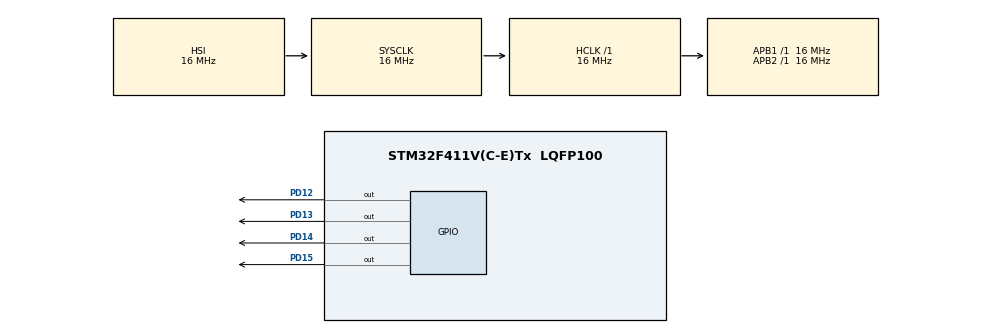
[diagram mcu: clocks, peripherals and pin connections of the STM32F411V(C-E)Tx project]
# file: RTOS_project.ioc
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FREERTOS.Mutexes01=uart_lock,Dynamic,NULL
FREERTOS.Queues01=sensor_queue,16,float,0,Dynamic,NULL,NULL
FREERTOS.Tasks01=task01,24,128,func1,Default,NULL,Dynamic,NULL,NULL;task02,8,512,func2,Default,NULL,Dynamic,NULL,NULL;task03,8,128,func3,Default,NULL,Dynamic,NULL,NULL;task04,8,128,func4,Default,NULL,Dynamic,NULL,NULL
Mcu.Family=STM32F4
Mcu.Name=STM32F411V(C-E)Tx
Mcu.Package=LQFP100
NVIC.PriorityGroup=NVIC_PRIORITYGROUP_4
PA13.Mode=Serial_Wire
PA13.Signal=SYS_JTMS-SWDIO
PA14.Mode=Serial_Wire
PA14.Signal=SYS_JTCK-SWCLK
PD12.Signal=GPIO_Output
PD13.Signal=GPIO_Output
PD14.Signal=GPIO_Output
PD15.Signal=GPIO_Output
ProjectManager.HeapSize=0x200
ProjectManager.StackSize=0x400
ProjectManager.TargetToolchain=STM32CubeIDE
RCC.AHBFreq_Value=16000000
RCC.APB1Freq_Value=16000000
RCC.APB2Freq_Value=16000000
RCC.CortexFreq_Value=16000000
RCC.HSE_VALUE=25000000
RCC.HSI_VALUE=16000000
RCC.LSE_VALUE=32768
RCC.SYSCLKFreq_VALUE=16000000
RCC.VCOOutputFreq_Value=192000000
VP_FREERTOS_VS_CMSIS_V2.Mode=CMSIS_V2
board=custom

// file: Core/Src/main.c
/* USER CODE BEGIN Header */
/**
  ******************************************************************************
  * @file           : main.c
  * @brief          : Main program body
  ******************************************************************************
  * @attention
  *
  * Copyright (c) 2023 STMicroelectronics.
  * All rights reserved.
  *
  * This software is licensed under terms that can be found in the LICENSE file
  * in the root directory of this software component.
  * If no LICENSE file comes with this software, it is provided AS-IS.
  *
  ******************************************************************************
  */
/* USER CODE END Header */
#include "main.h"
#include "cmsis_os.h"

/* USER CODE BEGIN Includes */
#include <string.h>
#include<stdarg.h>
#include<stdio.h>
#define UART1_ADDRESS_BASE 0x40011000
#define GPIOB_ADDRESS_BASE 0x40020400
#define RCC_ADDR_BASE 0x40023800
#define ADC_ADDR_BASE 0x40012000
#define ADC_CC_ADDR_BASE (ADC_ADDR_BASE +0x300)

/* USER CODE END Includes */

/* USER CODE BEGIN PTD */
void uart_init()
{
	__HAL_RCC_GPIOB_CLK_ENABLE();
	//chon PB6,PB7
	uint32_t* MODER = (uint32_t*)(GPIOB_ADDRESS_BASE + 0x00);
	//PB6,PB7
	*MODER &= ~((0b11 << 12) |( 0b11 << 14));
	*MODER |= ((0b10 << 12) |( 0b10 << 14));
	//ALTERNATIVE FUNCTION
	uint32_t* AFRL = (uint32_t*)(GPIOB_ADDRESS_BASE + 0x20);
	//CLEAR PB6,PB7
	*AFRL &= ~((0xf << 24) | (0xf << 28));
	//AF07 NEN DICH 7
	*AFRL |= ((7 << 24) | (7 << 28));

	//baund-rate=9600
	// parity: even
	// data length: 8bit
	__HAL_RCC_USART1_CLK_ENABLE();
	uint32_t* BRR = (uint32_t*)(UART1_ADDRESS_BASE + 0x08);
	//104,166667=16000000/(9600*160)
	//3=0.166667*16 fraction part
	//Baud_rate 19.6.3
	*BRR |= (104 << 4) | (3 << 0);
	uint32_t* CR1 = (uint32_t*)(UART1_ADDRESS_BASE + 0x0c);
	//12 xac dinh length(8 or 9 bits co parity hay k)
	//10 xac dinh parity
	*CR1 |= (1 << 12) | (1 << 10);
	//9 chon even hay odd parity neu 0 thi co the ko can
	*CR1 &= ~(1 << 9);
	//3 transmit,2 receive,13 enable uart
//	*CR1 |= (1 << 5);//enable interrupt, rxne=1
//	uint32_t*ISER1=(uint32_t*)(0xe000e104) ;
//	*ISER1|=(1<<(37-32));
	uint32_t*CR3=(uint32_t*)(0x40011014);
	*CR3|=(1<<6);

	*CR1 |= (1 << 13) | (1 << 3) | (1 << 2);

}
char rx_buf[1024];
int rx_index=0;
void USART1_IRQHandler()
{
	uint32_t* SR = (uint32_t*)(UART1_ADDRESS_BASE + 0x00);
	//DR DATA REGISTER
		uint32_t* DR = (uint32_t*)(UART1_ADDRESS_BASE + 0x04);
		rx_buf[rx_index++]=*DR;
		*SR &=~(1<<5);
}
void uart_send_1_byte(char data)
{//SR STATUS REGISTER
	uint32_t* SR = (uint32_t*)(UART1_ADDRESS_BASE + 0x00);
//DR DATA REGISTER
	uint32_t* DR = (uint32_t*)(UART1_ADDRESS_BASE + 0x04);
	//Xet transmit empty thi moi trans
	while (((*SR >> 7) & 1) != 1);
	*DR = data;
	//6 la transmit complete
	while (((*SR >> 6) & 1) != 1);

}
void uart_send_string(char* str)
{
	int str_len = strlen(str);
	for (int i = 0; i < str_len; i++) {
		uart_send_1_byte(str[i]);
	}

}
char uart_recv_data()
{
	uint32_t* SR = (uint32_t*)(UART1_ADDRESS_BASE + 0x00);
	uint32_t* DR = (uint32_t*)(UART1_ADDRESS_BASE + 0x04);
	while (((*SR >> 5) & 1) != 1);
	uint8_t data = *DR;
	return data;

}
void printlog(char*format,...)
{
char buf[1024]={0};
char buf_len=0;
va_list _ArgList;
va_start(_ArgList,format);
vsprintf(buf,format,_ArgList);
uart_send_string(buf);
va_end(_ArgList);
buf_len=strlen(buf);
for(int i=0;i<buf_len;i++)
{
	uart_send_1_byte(buf[i]);
}
}
void custom_printf(char*format,...)
{
char buf[1024]={0};
va_list _ArgList;
va_start(_ArgList,format);
vsprintf(buf,format,_ArgList);
uart_send_string(buf);
va_end(_ArgList);
}
int common_memory;

void adc_init() {
	//__HAL_RCC_ADC1_CLK_ENABLE();
	uint32_t* RCC_APB2ENR = (uint32_t*)(RCC_ADDR_BASE + 0x44);
	*RCC_APB2ENR |= (1 << 8);

	 uint32_t* CCR = (uint32_t*)(ADC_CC_ADDR_BASE + 0x04);
	 *CCR |= (1 << 23);         // enable temperature sensor

	 uint32_t* SMPR1 = (uint32_t*)(ADC_ADDR_BASE + 0x0C);
	 *SMPR1 |= 0b111 << 18;     // sample time for c16 is 480 cycles

	 uint32_t* JSQR = (uint32_t*)(ADC_ADDR_BASE + 0x38);
	 *JSQR &= ~(0b11 << 20);    //
	 *JSQR |= 16 << 15;         //  channel 16 temperature

	 uint32_t* CR2  = (uint32_t*)(ADC_ADDR_BASE + 0x08);
	 *CR2 |= 1 << 0;            // enable ADC

}
int adc_measure_vin() {
	uint32_t* CR2 = (uint32_t*)(ADC_ADDR_BASE + 0x08);
		*CR2 |= 1 << 22;//start
		uint32_t* SR = (uint32_t*)(ADC_ADDR_BASE + 0x00);
		while (((*SR >> 2) & 1) != 1);//WAIt until injected conversion complete
		uint32_t* JDR1 = (uint32_t*)(ADC_ADDR_BASE + 0x3C);
		uint32_t DR = *JDR1 & 0xfff;
		return (DR * 3000) / 4095;

}
float adc_get_temp()
{
	int VSENSE = adc_measure_vin();
	int V25 = 760;
	float Avg_slope = 2.5;
	float temper = ((VSENSE - V25) / Avg_slope) + 25;
	return temper;
}
void led_init()
{
	//enable clock GPIOD
	__HAL_RCC_GPIOD_CLK_ENABLE();
	//Set PD12,13,14,15 in OUTPUT mode(push-pull)
	uint32_t* GPIOD_MODER=(uint32_t*)(0x40020C00);
	*GPIOD_MODER &= ~(0b11111111 << 24);
	*GPIOD_MODER |=(0b01 << 24)|(0b01 << 26)|(0b01<<28) | (0b01<<30);

}
typedef enum
{
	LED_GREEN=12,
	LED_ORANGE=13,
	LED_RED=14,
	LED_BLUE=15
}led_t;
/**
* @brief Control the LED
* @param:
* led: the led is controlled
* state: led state to controll
* @retval None
*/
void led_ctrl(uint8_t led,uint8_t state)
{
	//write state into output data register
	uint32_t* GPIOD_ODR =(uint32_t*)(0x40020C14);
	if(state==1){

	//set pit in led to 1
	*GPIOD_ODR |=(1<<led);
	}
	else
	{
		//clear pin in led to 0
		*GPIOD_ODR &=~(1<<led);
	}
}
void led_toggle(uint8_t led)
{
	uint32_t* GPIOD_ODR =(uint32_t*)(0x40020C14);
	uint32_t* GPIOD_IDR =(uint32_t*)(0x40020C10);
		if(((*GPIOD_IDR>>led)&1)==1){

		*GPIOD_ODR &=~(1<<led);
		}
		else
		{

			*GPIOD_ODR |=(1<<led);
		}
}

/* USER CODE END PTD */

/* Definitions for task01 */
osThreadId_t task01Handle;
const osThreadAttr_t task01_attributes = {
  .name = "task01",
  .stack_size = 128 * 4,
  .priority = (osPriority_t) osPriorityNormal,
};
/* Definitions for task02 */
osThreadId_t task02Handle;
const osThreadAttr_t task02_attributes = {
  .name = "task02",
  .stack_size = 512 * 4,
  .priority = (osPriority_t) osPriorityLow,
};
/* Definitions for task03 */
osThreadId_t task03Handle;
const osThreadAttr_t task03_attributes = {
  .name = "task03",
  .stack_size = 128 * 4,
  .priority = (osPriority_t) osPriorityLow,
};
/* Definitions for task04 */
osThreadId_t task04Handle;
const osThreadAttr_t task04_attributes = {
  .name = "task04",
  .stack_size = 128 * 4,
  .priority = (osPriority_t) osPriorityLow,
};
/* Definitions for sensor_queue */
osMessageQueueId_t sensor_queueHandle;
const osMessageQueueAttr_t sensor_queue_attributes = {
  .name = "sensor_queue"
};
/* Definitions for uart_lock */
osMutexId_t uart_lockHandle;
const osMutexAttr_t uart_lock_attributes = {
  .name = "uart_lock"
};

void SystemClock_Config(void);
static void MX_GPIO_Init(void);
void func1(void *argument);
void func2(void *argument);
void func3(void *argument);
void func4(void *argument);

int main(void)
{

  /* MCU Configuration--------------------------------------------------------*/

  /* Reset of all peripherals, Initializes the Flash interface and the Systick. */
  HAL_Init();

  /* Configure the system clock */
  SystemClock_Config();

  /* Initialize all configured peripherals */
  MX_GPIO_Init();
  /* USER CODE BEGIN 2 */
  led_init();
uart_init();
adc_init();
  /* USER CODE END 2 */

  /* Init scheduler */
  osKernelInitialize();
  /* Create the mutex(es) */
  /* creation of uart_lock */
  uart_lockHandle = osMutexNew(&uart_lock_attributes);

  /* Create the queue(s) */
  /* creation of sensor_queue */
  sensor_queueHandle = osMessageQueueNew (16, sizeof(float), &sensor_queue_attributes);

  /* Create the thread(s) */
  /* creation of task01 */
  task01Handle = osThreadNew(func1, NULL, &task01_attributes);

  /* creation of task02 */
  task02Handle = osThreadNew(func2, NULL, &task02_attributes);

  /* creation of task03 */
  task03Handle = osThreadNew(func3, NULL, &task03_attributes);

  /* creation of task04 */
  task04Handle = osThreadNew(func4, NULL, &task04_attributes);

  /* Start scheduler */
  osKernelStart();

  /* We should never get here as control is now taken by the scheduler */
  /* Infinite loop */
  while (1)
  {

  }
}

void SystemClock_Config(void)
{
  RCC_OscInitTypeDef RCC_OscInitStruct = {0};
  RCC_ClkInitTypeDef RCC_ClkInitStruct = {0};

  /** Configure the main internal regulator output voltage
  */
  __HAL_RCC_PWR_CLK_ENABLE();
  __HAL_PWR_VOLTAGESCALING_CONFIG(PWR_REGULATOR_VOLTAGE_SCALE1);

  /** Initializes the RCC Oscillators according to the specified parameters
  * in the RCC_OscInitTypeDef structure.
  */
  RCC_OscInitStruct.OscillatorType = RCC_OSCILLATORTYPE_HSI;
  RCC_OscInitStruct.HSIState = RCC_HSI_ON;
  RCC_OscInitStruct.HSICalibrationValue = RCC_HSICALIBRATION_DEFAULT;
  RCC_OscInitStruct.PLL.PLLState = RCC_PLL_NONE;
  if (HAL_RCC_OscConfig(&RCC_OscInitStruct) != HAL_OK)
  {
    Error_Handler();
  }

  /** Initializes the CPU, AHB and APB buses clocks
  */
  RCC_ClkInitStruct.ClockType = RCC_CLOCKTYPE_HCLK|RCC_CLOCKTYPE_SYSCLK
                              |RCC_CLOCKTYPE_PCLK1|RCC_CLOCKTYPE_PCLK2;
  RCC_ClkInitStruct.SYSCLKSource = RCC_SYSCLKSOURCE_HSI;
  RCC_ClkInitStruct.AHBCLKDivider = RCC_SYSCLK_DIV1;
  RCC_ClkInitStruct.APB1CLKDivider = RCC_HCLK_DIV1;
  RCC_ClkInitStruct.APB2CLKDivider = RCC_HCLK_DIV1;

  if (HAL_RCC_ClockConfig(&RCC_ClkInitStruct, FLASH_LATENCY_0) != HAL_OK)
  {
    Error_Handler();
  }
}

static void MX_GPIO_Init(void)
{
  GPIO_InitTypeDef GPIO_InitStruct = {0};

  /* GPIO Ports Clock Enable */
  __HAL_RCC_GPIOD_CLK_ENABLE();
  __HAL_RCC_GPIOA_CLK_ENABLE();

  /*Configure GPIO pin Output Level */
  HAL_GPIO_WritePin(GPIOD, GPIO_PIN_12|GPIO_PIN_13|GPIO_PIN_14|GPIO_PIN_15, GPIO_PIN_RESET);

  /*Configure GPIO pins : PD12 PD13 PD14 PD15 */
  GPIO_InitStruct.Pin = GPIO_PIN_12|GPIO_PIN_13|GPIO_PIN_14|GPIO_PIN_15;
  GPIO_InitStruct.Mode = GPIO_MODE_OUTPUT_PP;
  GPIO_InitStruct.Pull = GPIO_NOPULL;
  GPIO_InitStruct.Speed = GPIO_SPEED_FREQ_LOW;
  HAL_GPIO_Init(GPIOD, &GPIO_InitStruct);

}

void func1(void *argument)
{
  /* USER CODE BEGIN 5 */
  /* Infinite loop */
  for(;;)
  {
	led_toggle(LED_GREEN);
	led_toggle(LED_RED);
    osDelay(1000);

  }
  /* USER CODE END 5 */
}

void func2(void *argument)
{
  /* USER CODE BEGIN func2 */
  /* Infinite loop */
  for(;;)
  { float temp;
  osMessageQueueGet(sensor_queueHandle, &temp, 0, HAL_MAX_DELAY);
 printlog("temprature:%f \r\n",temp);
	     osDelay(3000);

  }
  /* USER CODE END func2 */
}

void func3(void *argument)
{
  /* USER CODE BEGIN func3 */
	  float sensor_value;
  /* Infinite loop */
  for(;;)
  {
	sensor_value=adc_get_temp();
	osMessageQueuePut(sensor_queueHandle, &sensor_value, 0,HAL_MAX_DELAY);
    osDelay(100);
  }
  /* USER CODE END func3 */
}

void func4(void *argument)
{
  for(;;)
  {
    osDelay(1);
  }
}

void Error_Handler(void)
{
  __disable_irq();
  while (1)
  {
  }
}
